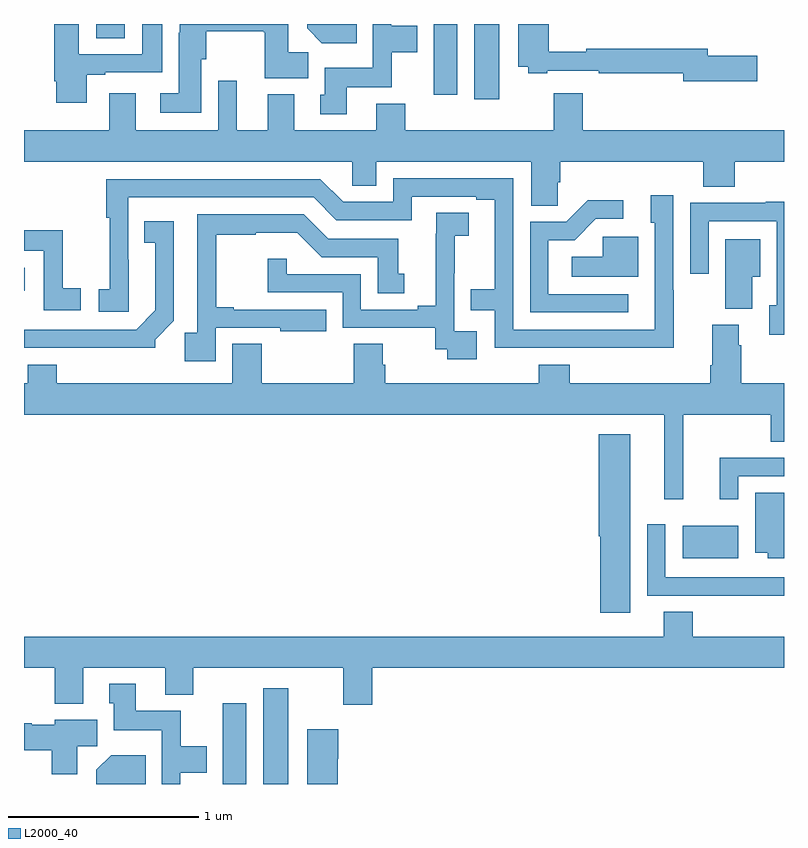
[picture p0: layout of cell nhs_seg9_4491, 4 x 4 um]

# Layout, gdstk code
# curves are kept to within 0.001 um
import gdstk
lib = gdstk.Library(unit=1e-6, precision=1e-09)
def R(c, l, rs):  # rectangles x0, y0, x1, y1
    for r in rs: c.add(gdstk.rectangle(r[:2], r[2:], *l))
def P(c, l, *ps):  # polygons
    for p in ps: c.add(gdstk.Polygon(p, *l))
L2000_40 = (2000, 40)

nhs_seg9_4491 = lib.new_cell('nhs_seg9_4491')
R(nhs_seg9_4491, L2000_40, [(370.046,1170.5,370.171,1170.925), (370.259,1170.5,370.39,1171.003), (372.467,1171.688,372.76,1171.858), (369,1173.095,369.004,1173.217), (371.369,1174.104,371.5,1174.5), (371.156,1174.128,371.281,1174.5), (369.38,1174.426,369.529,1174.5)])
P(nhs_seg9_4491, L2000_40, [(372.859,1174.334),(372.598,1174.334),(372.598,1174.37),(371.96,1174.37),(371.96,1174.355),(371.762,1174.355),(371.762,1174.5),(371.6,1174.5),(371.6,1174.274),(371.655,1174.274),(371.655,1174.242),(371.755,1174.242),(371.755,1174.254),(372.025,1174.254),(372.025,1174.242),(372.47,1174.242),(372.47,1174.199),(372.859,1174.199)],
  [(370.699,1174.166),(370.935,1174.166),(370.935,1174.352),(371.071,1174.352),(371.071,1174.492),(370.932,1174.492),(370.932,1174.5),(370.836,1174.5),(370.836,1174.27),(370.583,1174.27),(370.583,1174.128),(370.559,1174.128),(370.559,1174.026),(370.699,1174.026)],
  [(369.331,1174.233),(369.427,1174.233),(369.427,1174.245),(369.727,1174.245),(369.727,1174.5),(369.623,1174.5),(369.623,1174.341),(369.289,1174.341),(369.289,1174.5),(369.158,1174.5),(369.158,1174.198),(369.17,1174.198),(369.17,1174.086),(369.331,1174.086)],
  [(370.751,1174.5),(370.49,1174.5),(370.49,1174.478),(370.568,1174.4),(370.751,1174.4)],
  [(369.934,1174.314),(369.96,1174.314),(369.96,1174.463),(370.261,1174.463),(370.261,1174.456),(370.268,1174.456),(370.268,1174.214),(370.495,1174.214),(370.495,1174.352),(370.39,1174.352),(370.39,1174.5),(369.819,1174.5),(369.819,1174.454),(369.815,1174.454),(369.815,1174.135),(369.717,1174.135),(369.717,1174.034),(369.934,1174.034)],
  [(371.808,1173.667),(371.822,1173.667),(371.822,1173.776),(372.575,1173.776),(372.575,1173.643),(372.74,1173.643),(372.74,1173.776),(373,1173.776),(373,1173.94),(371.942,1173.94),(371.942,1174.135),(371.789,1174.135),(371.789,1173.94),(371.006,1173.94),(371.006,1174.081),(370.853,1174.081),(370.853,1173.94),(370.423,1173.94),(370.423,1174.129),(370.283,1174.129),(370.283,1173.94),(370.12,1173.94),(370.12,1174.201),(370.023,1174.201),(370.023,1173.94),(369.589,1173.94),(369.589,1174.135),(369.449,1174.135),(369.449,1173.94),(369,1173.94),(369,1173.776),(370.728,1173.776),(370.728,1173.649),(370.855,1173.649),(370.855,1173.776),(371.669,1173.776),(371.669,1173.544),(371.808,1173.544)],
  [(372.419,1173.098),(372.417,1173.098),(372.417,1173.598),(372.299,1173.598),(372.299,1173.453),(372.321,1173.453),(372.321,1172.892),(371.574,1172.892),(371.574,1173.687),(370.944,1173.687),(370.944,1173.564),(370.68,1173.564),(370.56,1173.684),(369.433,1173.684),(369.433,1173.481),(369.451,1173.481),(369.451,1173.105),(369.393,1173.105),(369.393,1172.985),(369.55,1172.985),(369.549,1173.588),(370.524,1173.588),(370.644,1173.468),(371.04,1173.468),(371.04,1173.591),(371.381,1173.591),(371.381,1173.576),(371.477,1173.576),(371.477,1173.103),(371.35,1173.103),(371.35,1172.994),(371.478,1172.994),(371.478,1172.796),(372.419,1172.795)],
  [(372.181,1173.078),(371.76,1173.078),(371.76,1173.363),(371.898,1173.363),(372.009,1173.474),(372.154,1173.474),(372.154,1173.572),(371.966,1173.572),(371.853,1173.459),(371.664,1173.459),(371.664,1172.982),(372.181,1172.982)],
  [(373,1173.565),(372.903,1173.565),(372.903,1173.558),(372.507,1173.558),(372.507,1173.186),(372.603,1173.186),(372.603,1173.462),(372.963,1173.462),(372.963,1173.021),(372.923,1173.021),(372.923,1172.865),(373,1172.865)],
  [(371.383,1172.883),(371.265,1172.883),(371.265,1173.187),(371.267,1173.187),(371.267,1173.385),(371.341,1173.385),(371.341,1173.506),(371.17,1173.506),(371.17,1173.395),(371.168,1173.395),(371.168,1173.017),(371.072,1173.017),(371.072,1172.997),(370.773,1172.997),(370.773,1173.183),(370.383,1173.183),(370.383,1173.265),(370.282,1173.265),(370.282,1173.087),(370.677,1173.087),(370.677,1172.901),(371.164,1172.901),(371.164,1172.787),(371.227,1172.787),(371.227,1172.736),(371.383,1172.736)],
  [(370.008,1172.901),(370.349,1172.901),(370.349,1172.882),(370.592,1172.882),(370.592,1172.997),(370.105,1172.997),(370.105,1173.01),(370.013,1173.01),(370.013,1173.39),(370.22,1173.39),(370.22,1173.401),(370.438,1173.401),(370.566,1173.273),(370.862,1173.273),(370.862,1173.082),(371.002,1173.082),(371.002,1173.186),(370.969,1173.186),(370.969,1173.369),(370.602,1173.369),(370.473,1173.498),(369.912,1173.498),(369.912,1172.875),(369.847,1172.875),(369.847,1172.724),(370.008,1172.724)],
  [(369.69,1172.839),(369.789,1172.938),(369.789,1173.463),(369.634,1173.463),(369.634,1173.35),(369.692,1173.35),(369.692,1172.993),(369.591,1172.892),(369,1172.892),(369,1172.796),(369.69,1172.795)],
  [(369.298,1173.11),(369.204,1173.11),(369.204,1173.415),(369,1173.415),(369,1173.306),(369.105,1173.306),(369.105,1172.994),(369.298,1172.994)],
  [(372.232,1173.381),(372.045,1173.381),(372.045,1173.274),(371.883,1173.274),(371.883,1173.17),(372.232,1173.17)],
  [(372.832,1173.17),(372.874,1173.17),(372.874,1173.367),(372.692,1173.367),(372.692,1173.001),(372.832,1173.001)],
  [(372.931,1172.302),(373,1172.302),(373,1172.608),(372.776,1172.608),(372.776,1172.81),(372.763,1172.81),(372.763,1172.916),(372.623,1172.916),(372.623,1172.704),(372.611,1172.704),(372.611,1172.608),(371.873,1172.608),(371.873,1172.707),(371.708,1172.707),(371.708,1172.608),(370.901,1172.608),(370.901,1172.706),(370.888,1172.706),(370.888,1172.816),(370.736,1172.816),(370.736,1172.608),(370.25,1172.608),(370.25,1172.816),(370.097,1172.816),(370.097,1172.608),(369.173,1172.608),(369.173,1172.707),(369.02,1172.707),(369.02,1172.608),(369,1172.608),(369,1172.444),(372.371,1172.444),(372.371,1171.998),(372.47,1171.998),(372.47,1172.444),(372.931,1172.444)],
  [(372.19,1172.341),(372.026,1172.341),(372.026,1171.803),(372.032,1171.803),(372.032,1171.401),(372.19,1171.401)],
  [(372.759,1172.121),(373,1172.121),(373,1172.217),(372.662,1172.217),(372.662,1171.998),(372.759,1171.998)],
  [(373,1172.032),(372.848,1172.032),(372.848,1171.718),(372.914,1171.718),(372.914,1171.688),(373,1171.688)],
  [(373,1171.587),(372.375,1171.587),(372.375,1171.867),(372.279,1171.867),(372.279,1171.491),(372.604,1171.491),(372.604,1171.49),(373,1171.49)],
  [(370.832,1171.112),(373,1171.112),(373,1171.276),(372.521,1171.276),(372.521,1171.406),(372.368,1171.406),(372.368,1171.276),(369,1171.276),(369,1171.112),(369.161,1171.112),(369.161,1170.923),(369.313,1170.923),(369.313,1171.112),(369.743,1171.112),(369.743,1170.971),(369.891,1170.971),(369.891,1171.112),(370.679,1171.112),(370.679,1170.918),(370.832,1170.918)],
  [(369.822,1170.56),(369.961,1170.56),(369.961,1170.7),(369.825,1170.7),(369.825,1170.886),(369.589,1170.886),(369.589,1171.027),(369.449,1171.027),(369.449,1170.924),(369.473,1170.924),(369.473,1170.782),(369.726,1170.782),(369.726,1170.5),(369.822,1170.5)],
  [(369.28,1170.7),(369.385,1170.7),(369.385,1170.838),(369.162,1170.838),(369.162,1170.811),(369.042,1170.811),(369.042,1170.819),(369,1170.819),(369,1170.677),(369.146,1170.677),(369.146,1170.552),(369.28,1170.552)],
  [(370.652,1170.633),(370.654,1170.633),(370.654,1170.787),(370.49,1170.787),(370.49,1170.5),(370.652,1170.5)],
  [(369.641,1170.652),(369.458,1170.652),(369.38,1170.574),(369.38,1170.5),(369.641,1170.5)])

lib.write_gds('nhs_seg9_4491.gds')
